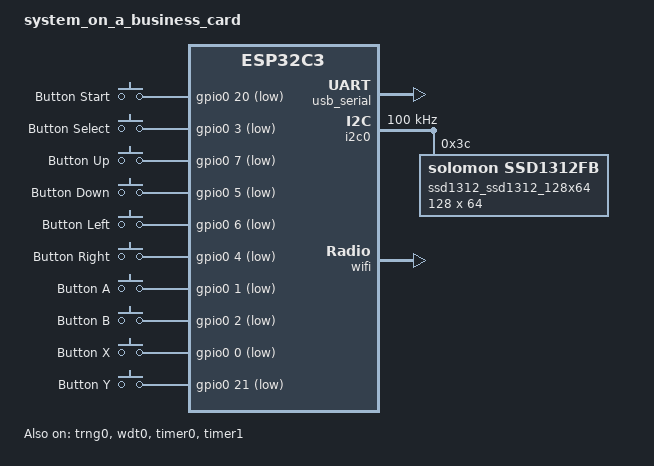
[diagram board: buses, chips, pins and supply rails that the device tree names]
/*
 * Copyright (c) 2021 Espressif Systems (Shanghai) Co., Ltd.
 *
 * SPDX-License-Identifier: Apache-2.0
 */

/dts-v1/;

#include <espressif/esp32c3.dtsi>
#include "system_on_a_business_card-pinctrl.dtsi"

/ {
	model = "system_on_a_business_card";
	compatible = "espressif,esp32c3";

	chosen {
		zephyr,sram = &sram0;
		zephyr,console = &usb_serial;
		zephyr,shell-uart = &usb_serial;
		zephyr,flash = &flash0;
		zephyr,display=&ssd1312_ssd1312_128x64;
	};

	aliases {
		btn-start = &user_button_start;
		btn-select = &user_button_select;
		btn-up = &user_button_up;
		btn-down = &user_button_down;
		btn-left = &user_button_left;
		btn-right = &user_button_right;
		btn-a = &user_button_a;
		btn-b = &user_button_b;
		btn-x = &user_button_x;
		btn-y = &user_button_y;
		i2c-0 = &i2c0;
		arduion-i2c = &i2c0;
		watchdog0 = &wdt0;
	};

	power-states {
		light_sleep: light_sleep {
			compatible = "zephyr,power-state";
			power-state-name = "standby";
			min-residency-us = <200>;
			exit-latency-us = <60>;
		};

		deep_sleep: deep_sleep {
			compatible = "zephyr,power-state";
			power-state-name = "soft-off";
			min-residency-us = <660>;
			exit-latency-us = <105>;
		};
	};

	gpio_keys {
		compatible = "gpio-keys";
		user_button_start: button_start {
			label = "Button Start";
			gpios = <&gpio0 20 (GPIO_PULL_UP | GPIO_ACTIVE_LOW)>;
		};
		user_button_select: button_select{
			label = "Button Select";
			gpios = <&gpio0 3 (GPIO_PULL_UP | GPIO_ACTIVE_LOW)>;
		};
		user_button_up: button_up{
			label = "Button Up";
			gpios = <&gpio0 7 (GPIO_PULL_UP | GPIO_ACTIVE_LOW)>;
		};
		user_button_down: button_down{
			label = "Button Down";
			gpios = <&gpio0 5 (GPIO_PULL_UP | GPIO_ACTIVE_LOW)>;
		};
		user_button_left: button_left{
			label = "Button Left";
			gpios = <&gpio0 6 (GPIO_PULL_UP | GPIO_ACTIVE_LOW)>;
		};
		user_button_right: button_right{
			label = "Button Right";
			gpios = <&gpio0 4 (GPIO_PULL_UP | GPIO_ACTIVE_LOW)>;
		};
		user_button_a: button_a{
			label = "Button A";
			gpios = <&gpio0 1 (GPIO_PULL_UP | GPIO_ACTIVE_LOW)>;
		};
		user_button_b: button_b{
			label = "Button B";
			gpios = <&gpio0 2 (GPIO_PULL_UP | GPIO_ACTIVE_LOW)>;
		};
		user_button_x: button_x{
			label = "Button X";
			gpios = <&gpio0 0 (GPIO_PULL_UP | GPIO_ACTIVE_LOW)>;
		};
		user_button_y: button_y{
			label = "Button Y";
			gpios = <&gpio0 21 (GPIO_PULL_UP | GPIO_ACTIVE_LOW)>;
		};
	};
};

&cpu0 {
	clock-frequency = <ESP32_CLK_CPU_160M>;
	cpu-power-states = <&deep_sleep &light_sleep>;
};

&uart0 {
	status = "disabled";
};

&usb_serial {
	status = "okay";
};

&i2c0 {
	status = "okay";
	clock-frequency = <I2C_BITRATE_STANDARD>;
	pinctrl-0 = <&i2c0_default>;
	pinctrl-names = "default";

	ssd1312_ssd1312_128x64: ssd1312@3c {
		compatible = "solomon,ssd1312fb";
		reg = <0x3c>;
		width = <128>;
		height = <64>;
		segment-offset = <0>;
		page-offset = <0>;
		display-offset = <0>;
		multiplex-ratio = <63>;
		segment-remap;
		prechargep = <0x22>;
	};
};

&trng0 {
	status = "okay";
};

&spi2 {
	status = "disabled";
};

&gpio0 {
	status = "okay";
};

&wdt0 {
	status = "okay";
};

&timer0 {
	status = "okay";
};

&timer1 {
	status = "okay";
};

&wifi {
	status = "okay";
};

&flash0 {
	status = "okay";
	partitions {
		compatible = "fixed-partitions";
		#address-cells = <1>;
		#size-cells = <1>;

		/* Reserve 60kB for the bootloader */
		boot_partition: partition@0 {
			label = "mcuboot";
			reg = <0x00000000 0x0000F000>;
			read-only;
		};

		/* Reserve 1024kB for the application in slot 0 */
		slot0_partition: partition@10000 {
			label = "image-0";
			reg = <0x00010000 0x00100000>;
		};

		/* Reserve 1024kB for the application in slot 1 */
		slot1_partition: partition@110000 {
			label = "image-1";
			reg = <0x00110000 0x00100000>;
		};

		/* Reserve 256kB for the scratch partition */
		scratch_partition: partition@210000 {
			   label = "image-scratch";
			   reg = <0x00210000 0x00040000>;
		};

		storage_partition: partition@250000 {
			label = "storage";
			reg = <0x00250000 0x00006000>;
		};
	};
};
